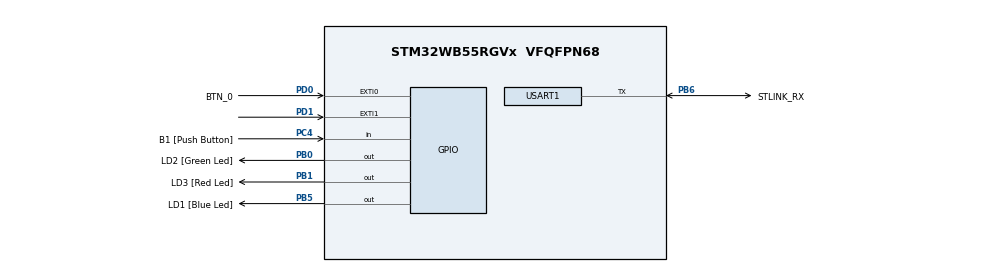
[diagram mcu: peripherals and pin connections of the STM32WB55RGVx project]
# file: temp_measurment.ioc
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ADC1.Channel-0\#ChannelRegularConversion=ADC_CHANNEL_TEMPSENSOR
ADC1.ClockPrescaler=ADC_CLOCK_ASYNC_DIV4
ADC1.NbrOfConversion=1
ADC1.NbrOfConversionFlag=1
ADC1.OffsetNumber-0\#ChannelRegularConversion=ADC_OFFSET_NONE
ADC1.Rank-0\#ChannelRegularConversion=1
ADC1.SamplingTime-0\#ChannelRegularConversion=ADC_SAMPLETIME_640CYCLES_5
ADC1.master=1
Mcu.Family=STM32WB
Mcu.Name=STM32WB55RGVx
Mcu.Package=VFQFPN68
NVIC.EXTI0_IRQn=true\:0\:0\:false\:false\:true\:true\:true\:true
NVIC.EXTI1_IRQn=true\:0\:0\:false\:false\:true\:true\:true\:true
NVIC.PriorityGroup=NVIC_PRIORITYGROUP_4
NVIC.RTC_WKUP_IRQn=true\:0\:0\:false\:false\:true\:true\:true\:true
OSC_IN.GPIO_Label=RCC_OSC_IN
OSC_IN.Mode=HSE-External-Oscillator
OSC_IN.Signal=RCC_OSC_IN
OSC_OUT.GPIO_Label=RCC_OSC_OUT
OSC_OUT.Mode=HSE-External-Oscillator
OSC_OUT.Signal=RCC_OSC_OUT
PA11.GPIO_Label=USB_DM
PA11.Signal=USB_DM
PA12.GPIO_Label=USB_DP
PA12.Signal=USB_DP
PA13.GPIO_Label=JTMS
PA13.Mode=Serial_Wire
PA13.Signal=SYS_JTMS-SWDIO
PA14.GPIO_Label=JTCK
PA14.Mode=Serial_Wire
PA14.Signal=SYS_JTCK-SWCLK
PB0.GPIO_Label=LD2 [Green Led]
PB0.Signal=GPIO_Output
PB1.GPIO_Label=LD3 [Red Led]
PB1.Signal=GPIO_Output
PB3.GPIO_Label=JTDO
PB3.Signal=SYS_JTDO-SWO
PB5.GPIO_Label=LD1 [Blue Led]
PB5.Signal=GPIO_Output
PB6.GPIO_Label=STLINK_RX
PB6.Mode=Half_duplex(single_wire_mode)
PB6.Signal=USART1_TX
PB7.GPIO_Label=STLINK_TX
PB7.Signal=USART1_RX
PC13.GPIO_Label=SYS_WKUP2
PC13.Signal=SYS_WKUP2
PC14-OSC32_IN.GPIO_Label=RCC_OSC32_IN
PC14-OSC32_IN.Mode=LSE-External-Oscillator
PC14-OSC32_IN.Signal=RCC_OSC32_IN
PC15-OSC32_OUT.GPIO_Label=RCC_OSC32_OUT
PC15-OSC32_OUT.Mode=LSE-External-Oscillator
PC15-OSC32_OUT.Signal=RCC_OSC32_OUT
PC4.GPIO_Label=B1 [Push Button]
PC4.Signal=GPIO_Input
PD0.GPIO_Label=BTN_0
PD0.GPIO_ModeDefaultEXTI=GPIO_MODE_IT_FALLING
PD0.GPIO_PuPd=GPIO_PULLUP
PD0.Signal=GPXTI0
PD1.Signal=GPXTI1
ProjectManager.HeapSize=0x200
ProjectManager.StackSize=0x400
ProjectManager.TargetToolchain=STM32CubeIDE
RCC.ADCCLockSelection=RCC_ADCCLKSOURCE_PLL
RCC.ADCFreq_Value=12000000
RCC.AHB2CLKDivider=RCC_SYSCLK_DIV2
RCC.AHBFreq_Value=48000000
RCC.APB1Freq_Value=48000000
RCC.APB1TimFreq_Value=48000000
RCC.APB2Freq_Value=48000000
RCC.APB2TimFreq_Value=48000000
RCC.APB3Freq_Value=16000000
RCC.Cortex2_Div=SYSTICK_CLKSOURCE_HCLK_DIV8
RCC.CortexFreq_Value=48000000
RCC.HCLKFreq_Value=48000000
RCC.HSE_VALUE=32000000
RCC.HSI48_VALUE=48000000
RCC.HSI_VALUE=16000000
RCC.PLLN=24
RCC.PLLP=RCC_PLLP_DIV8
RCC.PLLSAI1R=RCC_PLLR_DIV4
RCC.SMPSCLockSelection=RCC_SMPSCLKSOURCE_HSI
RCC.SMPSCLockSelectionVirtual=RCC_SMPSCLKSOURCE_HSI
RCC.SMPSCLockSelectionVirtualVirtual=RCC_SMPSCLKSOURCE_HSI
RCC.SMPSDivider=1
RCC.SYSCLKFreq_VALUE=48000000
RCC.SYSCLKSource=RCC_SYSCLKSOURCE_PLLCLK
RCC.USBFreq_Value=16000000
RCC.VCOOutputFreq_Value=96000000
RTC.WakeUpClock-WakeUp=RTC_WAKEUPCLOCK_CK_SPRE_16BITS
RTC.WakeUpCounter-WakeUp=10
USART1.BaudRate=9600
USART1.VirtualMode-Half_duplex(single_wire_mode)=VM_ASYNC
VP_ADC1_TempSens_Input.Mode=IN-TempSens
VP_MEMORYMAP_VS_MEMORYMAP.Mode=CurAppReg
VP_RTC_VS_RTC_Activate.Mode=RTC_Enabled
VP_RTC_VS_RTC_WakeUp_intern.Mode=WakeUp
board=NUCLEO-WB55RG

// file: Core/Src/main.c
/* USER CODE BEGIN Header */
/**
  ******************************************************************************
  * @file           : main.c
  * @brief          : Main program body
  ******************************************************************************
  * @attention
  *
  * Copyright (c) 2025 STMicroelectronics.
  * All rights reserved.
  *
  * This software is licensed under terms that can be found in the LICENSE file
  * in the root directory of this software component.
  * If no LICENSE file comes with this software, it is provided AS-IS.
  *
  ******************************************************************************
  */
/* USER CODE END Header */
#include "main.h"

/* USER CODE BEGIN Includes */

#include "string.h"
#include "stdbool.h"
#include "stdio.h"

/* USER CODE END Includes */

/* USER CODE BEGIN PD */
#define N_SAMPLES 15
/* USER CODE END PD */

ADC_HandleTypeDef hadc1;

RTC_HandleTypeDef hrtc;

UART_HandleTypeDef huart1;

/* USER CODE BEGIN PV */

bool exti_interupt = false;
bool rtc_interupt = false;

/* USER CODE END PV */

void SystemClock_Config(void);
void PeriphCommonClock_Config(void);
static void MX_GPIO_Init(void);
static void MX_USART1_UART_Init(void);
static void MX_ADC1_Init(void);
static void MX_RTC_Init(void);

/* USER CODE BEGIN 0 */

void HAL_GPIO_EXTI_Callback(uint16_t GPIO_Pin)
{
	if(GPIO_Pin == GPIO_PIN_0)
	{
		exti_interupt=true;
	}
}

void HAL_RTCEx_WakeUpTimerEventCallback(RTC_HandleTypeDef *hrtc)
{
	rtc_interupt = true;
}

int32_t calculate_temperature(uint16_t raw_value)
{
	uint16_t temp_mv = (3000*raw_value)/4096;
	int32_t retval = (int32_t)(1.22f*temp_mv-785)/2.5f + 30;
	return retval;

}

uint16_t calculate_average(uint16_t* values,uint32_t len)
{
	int32_t sum=0;
	for (int i = 0; i < len; i++)
	{
		  sum+=values[i];
	}
	return (uint16_t)sum/len;
}

int32_t measure_temperature()
{
	uint16_t raw_values[N_SAMPLES] = {0};
	for (int i = 0; i < N_SAMPLES; i++)
	{
	  HAL_ADC_Start(&hadc1);
	  HAL_ADC_PollForConversion(&hadc1, HAL_MAX_DELAY);
	  raw_values[i] = HAL_ADC_GetValue(&hadc1);
	  HAL_ADC_Stop(&hadc1);
	}
	uint16_t average = calculate_average(raw_values,N_SAMPLES);
	return calculate_temperature(average);
}

/* USER CODE END 0 */

int main(void)
{

  /* USER CODE BEGIN 1 */

	char msg[10] = {0};

  /* USER CODE END 1 */

  /* MCU Configuration--------------------------------------------------------*/

  /* Reset of all peripherals, Initializes the Flash interface and the Systick. */
  HAL_Init();

  /* Configure the system clock */
  SystemClock_Config();

  /* Configure the peripherals common clocks */
  PeriphCommonClock_Config();

  /* Initialize all configured peripherals */
  MX_GPIO_Init();
  MX_USART1_UART_Init();
  MX_ADC1_Init();
  MX_RTC_Init();
  /* USER CODE BEGIN 2 */

  char* str = "Going into SLEEP MODE\r\n";
  HAL_UART_Transmit(&huart1, (uint8_t *)str, strlen (str), HAL_MAX_DELAY);

//  for (int i = 0; i < 10; i++) {
//	  HAL_GPIO_TogglePin(GPIOB, GPIO_PIN_1);
//	  HAL_Delay(500);
//	}

  HAL_SuspendTick();
  HAL_GPIO_WritePin(GPIOB, GPIO_PIN_1, 0);
  HAL_PWR_EnterSTOPMode(PWR_LOWPOWERREGULATOR_ON, PWR_STOPENTRY_WFI); // enter STOP MODE

  /* USER CODE END 2 */

  /* Infinite loop */
  /* USER CODE BEGIN WHILE */
  while (1)
  {

	  if(exti_interupt || rtc_interupt)
	  {
		  // WAKE UP
		  SystemClock_Config();
		  HAL_ResumeTick();
		  char *str;
		  if(exti_interupt)
		  {
			  str = "WAKEUP FROM EXTII\n\r";
			  HAL_UART_Transmit(&huart1, (uint8_t *) str, strlen (str), HAL_MAX_DELAY);
		  }
		  else if(rtc_interupt)
		  {
			  str = "WAKEUP FROM RTC\n\r";
			  HAL_UART_Transmit(&huart1, (uint8_t *) str, strlen (str), HAL_MAX_DELAY);
		  }
		exti_interupt=false;
		rtc_interupt=false;

		// MEASURE TEMPERATURE
		__HAL_RCC_ADC_CLK_ENABLE();
		HAL_Delay(100);
		int32_t temperature = measure_temperature();
		sprintf(msg,"Temp: %hu\r\n",(int)temperature);
		HAL_UART_Transmit(&huart1, (uint8_t*)msg, strlen(msg), HAL_MAX_DELAY);

		//BLINK 5 TIMES
//		for (int i = 0; i < 10; i++) {
//			HAL_GPIO_TogglePin(GPIOB, GPIO_PIN_1);
//			HAL_Delay(500);
//		}

		str = "GOING BACK TO SLEEP \n\n\r";
		HAL_UART_Transmit(&huart1, (uint8_t *) str, strlen (str), HAL_MAX_DELAY);
		HAL_GPIO_WritePin(GPIOB, GPIO_PIN_1, 0);

		HAL_SuspendTick();
		HAL_PWR_EnterSTOPMode(PWR_LOWPOWERREGULATOR_ON, PWR_STOPENTRY_WFI); // enter STOP MODE

	  }

    /* USER CODE END WHILE */

  }
}

void SystemClock_Config(void)
{
  RCC_OscInitTypeDef RCC_OscInitStruct = {0};
  RCC_ClkInitTypeDef RCC_ClkInitStruct = {0};

  /** Configure the main internal regulator output voltage
  */
  __HAL_PWR_VOLTAGESCALING_CONFIG(PWR_REGULATOR_VOLTAGE_SCALE1);

  /** Initializes the RCC Oscillators according to the specified parameters
  * in the RCC_OscInitTypeDef structure.
  */
  RCC_OscInitStruct.OscillatorType = RCC_OSCILLATORTYPE_HSI|RCC_OSCILLATORTYPE_LSI1
                              |RCC_OSCILLATORTYPE_HSE|RCC_OSCILLATORTYPE_MSI;
  RCC_OscInitStruct.HSEState = RCC_HSE_ON;
  RCC_OscInitStruct.HSIState = RCC_HSI_ON;
  RCC_OscInitStruct.MSIState = RCC_MSI_ON;
  RCC_OscInitStruct.HSICalibrationValue = RCC_HSICALIBRATION_DEFAULT;
  RCC_OscInitStruct.MSICalibrationValue = RCC_MSICALIBRATION_DEFAULT;
  RCC_OscInitStruct.MSIClockRange = RCC_MSIRANGE_6;
  RCC_OscInitStruct.LSIState = RCC_LSI_ON;
  RCC_OscInitStruct.PLL.PLLState = RCC_PLL_ON;
  RCC_OscInitStruct.PLL.PLLSource = RCC_PLLSOURCE_MSI;
  RCC_OscInitStruct.PLL.PLLM = RCC_PLLM_DIV1;
  RCC_OscInitStruct.PLL.PLLN = 24;
  RCC_OscInitStruct.PLL.PLLP = RCC_PLLP_DIV8;
  RCC_OscInitStruct.PLL.PLLR = RCC_PLLR_DIV2;
  RCC_OscInitStruct.PLL.PLLQ = RCC_PLLQ_DIV2;
  if (HAL_RCC_OscConfig(&RCC_OscInitStruct) != HAL_OK)
  {
    Error_Handler();
  }

  /** Configure the SYSCLKSource, HCLK, PCLK1 and PCLK2 clocks dividers
  */
  RCC_ClkInitStruct.ClockType = RCC_CLOCKTYPE_HCLK4|RCC_CLOCKTYPE_HCLK2
                              |RCC_CLOCKTYPE_HCLK|RCC_CLOCKTYPE_SYSCLK
                              |RCC_CLOCKTYPE_PCLK1|RCC_CLOCKTYPE_PCLK2;
  RCC_ClkInitStruct.SYSCLKSource = RCC_SYSCLKSOURCE_PLLCLK;
  RCC_ClkInitStruct.AHBCLKDivider = RCC_SYSCLK_DIV1;
  RCC_ClkInitStruct.APB1CLKDivider = RCC_HCLK_DIV1;
  RCC_ClkInitStruct.APB2CLKDivider = RCC_HCLK_DIV1;
  RCC_ClkInitStruct.AHBCLK2Divider = RCC_SYSCLK_DIV2;
  RCC_ClkInitStruct.AHBCLK4Divider = RCC_SYSCLK_DIV1;

  if (HAL_RCC_ClockConfig(&RCC_ClkInitStruct, FLASH_LATENCY_2) != HAL_OK)
  {
    Error_Handler();
  }
}

void PeriphCommonClock_Config(void)
{
  RCC_PeriphCLKInitTypeDef PeriphClkInitStruct = {0};

  /** Initializes the peripherals clock
  */
  PeriphClkInitStruct.PeriphClockSelection = RCC_PERIPHCLK_SMPS;
  PeriphClkInitStruct.SmpsClockSelection = RCC_SMPSCLKSOURCE_HSI;
  PeriphClkInitStruct.SmpsDivSelection = RCC_SMPSCLKDIV_RANGE0;

  if (HAL_RCCEx_PeriphCLKConfig(&PeriphClkInitStruct) != HAL_OK)
  {
    Error_Handler();
  }
}

static void MX_ADC1_Init(void)
{

  ADC_ChannelConfTypeDef sConfig = {0};

  /** Common config
  */
  hadc1.Instance = ADC1;
  hadc1.Init.ClockPrescaler = ADC_CLOCK_ASYNC_DIV4;
  hadc1.Init.Resolution = ADC_RESOLUTION_12B;
  hadc1.Init.DataAlign = ADC_DATAALIGN_RIGHT;
  hadc1.Init.ScanConvMode = ADC_SCAN_DISABLE;
  hadc1.Init.EOCSelection = ADC_EOC_SINGLE_CONV;
  hadc1.Init.LowPowerAutoWait = DISABLE;
  hadc1.Init.ContinuousConvMode = DISABLE;
  hadc1.Init.NbrOfConversion = 1;
  hadc1.Init.DiscontinuousConvMode = DISABLE;
  hadc1.Init.ExternalTrigConv = ADC_SOFTWARE_START;
  hadc1.Init.ExternalTrigConvEdge = ADC_EXTERNALTRIGCONVEDGE_NONE;
  hadc1.Init.DMAContinuousRequests = DISABLE;
  hadc1.Init.Overrun = ADC_OVR_DATA_PRESERVED;
  hadc1.Init.OversamplingMode = DISABLE;
  if (HAL_ADC_Init(&hadc1) != HAL_OK)
  {
    Error_Handler();
  }

  /** Configure Regular Channel
  */
  sConfig.Channel = ADC_CHANNEL_TEMPSENSOR;
  sConfig.Rank = ADC_REGULAR_RANK_1;
  sConfig.SamplingTime = ADC_SAMPLETIME_640CYCLES_5;
  sConfig.SingleDiff = ADC_SINGLE_ENDED;
  sConfig.OffsetNumber = ADC_OFFSET_NONE;
  sConfig.Offset = 0;
  if (HAL_ADC_ConfigChannel(&hadc1, &sConfig) != HAL_OK)
  {
    Error_Handler();
  }

}

static void MX_RTC_Init(void)
{

  /** Initialize RTC Only
  */
  hrtc.Instance = RTC;
  hrtc.Init.HourFormat = RTC_HOURFORMAT_24;
  hrtc.Init.AsynchPrediv = 127;
  hrtc.Init.SynchPrediv = 255;
  hrtc.Init.OutPut = RTC_OUTPUT_DISABLE;
  hrtc.Init.OutPutPolarity = RTC_OUTPUT_POLARITY_HIGH;
  hrtc.Init.OutPutType = RTC_OUTPUT_TYPE_OPENDRAIN;
  hrtc.Init.OutPutRemap = RTC_OUTPUT_REMAP_NONE;
  if (HAL_RTC_Init(&hrtc) != HAL_OK)
  {
    Error_Handler();
  }

  /** Enable the WakeUp
  */
  if (HAL_RTCEx_SetWakeUpTimer_IT(&hrtc, 10, RTC_WAKEUPCLOCK_CK_SPRE_16BITS) != HAL_OK)
  {
    Error_Handler();
  }

}

static void MX_USART1_UART_Init(void)
{

  huart1.Instance = USART1;
  huart1.Init.BaudRate = 9600;
  huart1.Init.WordLength = UART_WORDLENGTH_8B;
  huart1.Init.StopBits = UART_STOPBITS_1;
  huart1.Init.Parity = UART_PARITY_NONE;
  huart1.Init.Mode = UART_MODE_TX_RX;
  huart1.Init.HwFlowCtl = UART_HWCONTROL_NONE;
  huart1.Init.OverSampling = UART_OVERSAMPLING_16;
  huart1.Init.OneBitSampling = UART_ONE_BIT_SAMPLE_DISABLE;
  huart1.Init.ClockPrescaler = UART_PRESCALER_DIV1;
  huart1.AdvancedInit.AdvFeatureInit = UART_ADVFEATURE_NO_INIT;
  if (HAL_HalfDuplex_Init(&huart1) != HAL_OK)
  {
    Error_Handler();
  }
  if (HAL_UARTEx_SetTxFifoThreshold(&huart1, UART_TXFIFO_THRESHOLD_1_8) != HAL_OK)
  {
    Error_Handler();
  }
  if (HAL_UARTEx_SetRxFifoThreshold(&huart1, UART_RXFIFO_THRESHOLD_1_8) != HAL_OK)
  {
    Error_Handler();
  }
  if (HAL_UARTEx_DisableFifoMode(&huart1) != HAL_OK)
  {
    Error_Handler();
  }

}

static void MX_GPIO_Init(void)
{
  GPIO_InitTypeDef GPIO_InitStruct = {0};

  /* GPIO Ports Clock Enable */
  __HAL_RCC_GPIOC_CLK_ENABLE();
  __HAL_RCC_GPIOB_CLK_ENABLE();
  __HAL_RCC_GPIOA_CLK_ENABLE();
  __HAL_RCC_GPIOD_CLK_ENABLE();

  /*Configure GPIO pin Output Level */
  HAL_GPIO_WritePin(GPIOB, LD2_Pin|LD3_Pin|LD1_Pin, GPIO_PIN_RESET);

  /*Configure GPIO pin : B1_Pin */
  GPIO_InitStruct.Pin = B1_Pin;
  GPIO_InitStruct.Mode = GPIO_MODE_INPUT;
  GPIO_InitStruct.Pull = GPIO_NOPULL;
  HAL_GPIO_Init(B1_GPIO_Port, &GPIO_InitStruct);

  /*Configure GPIO pins : LD2_Pin LD3_Pin LD1_Pin */
  GPIO_InitStruct.Pin = LD2_Pin|LD3_Pin|LD1_Pin;
  GPIO_InitStruct.Mode = GPIO_MODE_OUTPUT_PP;
  GPIO_InitStruct.Pull = GPIO_NOPULL;
  GPIO_InitStruct.Speed = GPIO_SPEED_FREQ_LOW;
  HAL_GPIO_Init(GPIOB, &GPIO_InitStruct);

  /*Configure GPIO pins : USB_DM_Pin USB_DP_Pin */
  GPIO_InitStruct.Pin = USB_DM_Pin|USB_DP_Pin;
  GPIO_InitStruct.Mode = GPIO_MODE_AF_PP;
  GPIO_InitStruct.Pull = GPIO_NOPULL;
  GPIO_InitStruct.Speed = GPIO_SPEED_FREQ_LOW;
  GPIO_InitStruct.Alternate = GPIO_AF10_USB;
  HAL_GPIO_Init(GPIOA, &GPIO_InitStruct);

  /*Configure GPIO pin : BTN_0_Pin */
  GPIO_InitStruct.Pin = BTN_0_Pin;
  GPIO_InitStruct.Mode = GPIO_MODE_IT_FALLING;
  GPIO_InitStruct.Pull = GPIO_PULLUP;
  HAL_GPIO_Init(BTN_0_GPIO_Port, &GPIO_InitStruct);

  /*Configure GPIO pin : PD1 */
  GPIO_InitStruct.Pin = GPIO_PIN_1;
  GPIO_InitStruct.Mode = GPIO_MODE_IT_RISING;
  GPIO_InitStruct.Pull = GPIO_NOPULL;
  HAL_GPIO_Init(GPIOD, &GPIO_InitStruct);

  /* EXTI interrupt init*/
  HAL_NVIC_SetPriority(EXTI0_IRQn, 0, 0);
  HAL_NVIC_EnableIRQ(EXTI0_IRQn);

  HAL_NVIC_SetPriority(EXTI1_IRQn, 0, 0);
  HAL_NVIC_EnableIRQ(EXTI1_IRQn);

}

void Error_Handler(void)
{
  __disable_irq();
  while (1)
  {
  }
}
